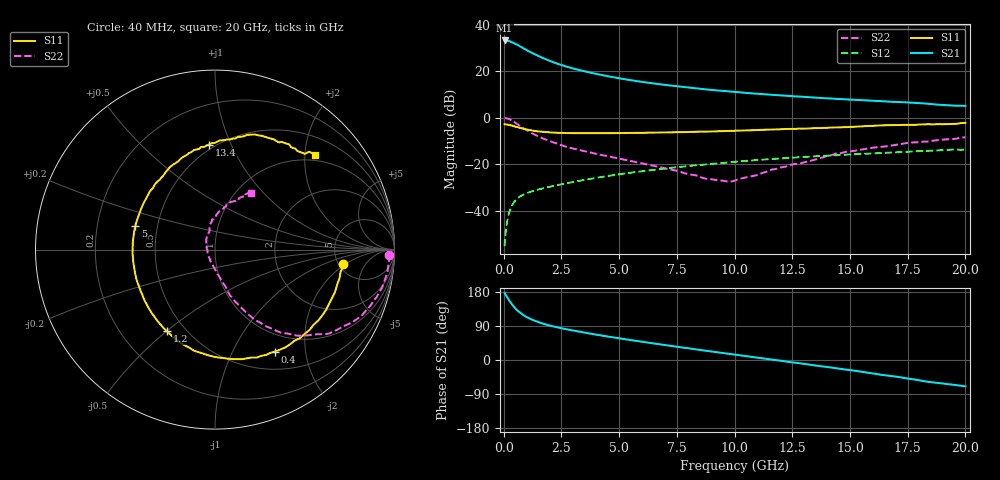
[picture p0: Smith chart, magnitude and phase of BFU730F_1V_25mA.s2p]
! Filename:  P:\Prog\Test\Noise\ATS_data\Testdata_Net\Split files Spar\BFU730_2W_B1_1V_1mA_30mA_Bias9_D.s2p
! Date/Time: Fri 29/Apr/2011 14:16:26
! BFU730_2W_B1_1V_1mA_30mA_Bias9_R.s2p
! MDIF S-parameter v. bias file
! BFU730_2W_B1_1V_1mA_30mA
! Date/time Thu Mar 17 14:34:31 2011
! VAR V_out= 1.0002
! VAR I_out= 25.0350
! VAR V_in= 0.8334
! VAR I_in= 0.0880
! Device data file deembeded for feedlines and parallel
! Original file: \Split files Spar\BFU730_2W_B1_1V_1mA_30mA_Bias9_R.s2p
! Feed-files: PR003V01_101208_Feed1.s2p, PR003V01_101208_Feed2.s2p
! Parallel-file: PR003V01_101208_Par.s2p
# MHz S MA R 50
!  Freq-MHz  S11-mag  S11-arg  S21-mag  S21-arg  S12-mag  S12-arg  S22-mag  S22-arg
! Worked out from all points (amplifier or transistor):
!   167 points, 40 MHz to 20 GHz, reference 50 ohm
!   highest |S21| = 33.1 dB at 40 MHz (marker M1)
!   |S21| within 3 dB of that: start of sweep to 789.9 MHz
!   unconditionally stable (mu >= 1): 3.652 GHz to 16.38 GHz
!   at 550 MHz: K = 0.24, MSG = 33.4 dB, |S12| = -35.2 dB
!   at 4.2 GHz: K = 1.04, MAG = 20.8 dB, |S12| = -25.6 dB
!   at 20 GHz: K = 0.92, MSG = 9.4 dB, |S12| = -13.8 dB
!   S11 on the Smith chart (normalised r, x): 40 MHz: 5.46, -1.84; 400 MHz: 0.74, -1.48; 1.2 GHz: 0.40, -0.50; 5 GHz: 0.37, +0.13; 13.4 GHz: 0.47, +0.83; 20 GHz: 0.86, +2.23
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40  0.7181 -6.5  45.43 177.0  0.001709 82.2  0.9677 -1.6
50  0.7163 -8.4  45.38 175.1  0.002244 71.1  0.9702 -2.9
60  0.711 -9.9  43.83 174.3  0.00227 80.3  0.9717 -3.9
80  0.7118 -12.8  45.13 172.8  0.003187 81.9  0.9697 -5.8
180  0.7039 -28.2  45.06 162.9  0.00698 77.2  0.9439 -14.8
220  0.6979 -34.4  44.57 158.8  0.008386 75.1  0.9274 -18.1
300  0.6839 -46.2  42.56 151.4  0.01099 70.9  0.896 -24.4
400  0.6585 -59.6  40.91 143.6  0.01392 65.6  0.8303 -31.0
480  0.6457 -68.7  39.22 137.9  0.01582 62.4  0.7922 -36.1
600  0.6182 -81.0  36.66 130.2  0.01818 58.0  0.7158 -41.6
850  0.5758 -101.6  30.66 118.4  0.0219 52.5  0.5968 -51.2
1200  0.5273 -120.5  24.91 107.3  0.02565 48.5  0.4672 -59.0
1550  0.4997 -134.8  20.48 99.0  0.02873 47.2  0.3826 -64.0
2000  0.4764 -148.4  16.49 90.8  0.03239 46.7  0.3111 -68.8
2700  0.4639 -164.1  12.51 81.3  0.03838 46.7  0.2359 -73.2
3400  0.4593 -175.7  10.13 73.4  0.04464 46.4  0.1941 -76.3
5000  0.4626 163.5  6.985 57.2  0.0601 43.3  0.1304 -85.0
6800  0.476 145.5  5.166 41.2  0.07797 37.1  0.08494 -99.8
10200  0.5261 117.4  3.493 12.6  0.1136 21.5  0.04779 168.3
13400  0.5857 93.4  2.696 -13.6  0.146 3.3  0.1211 105.1
16800  0.6856 67.7  2.178 -42.3  0.1762 -16.8  0.2496 75.7
20000  0.7696 43.5  1.784 -69.5  0.2041 -37.6  0.3754 57.7
